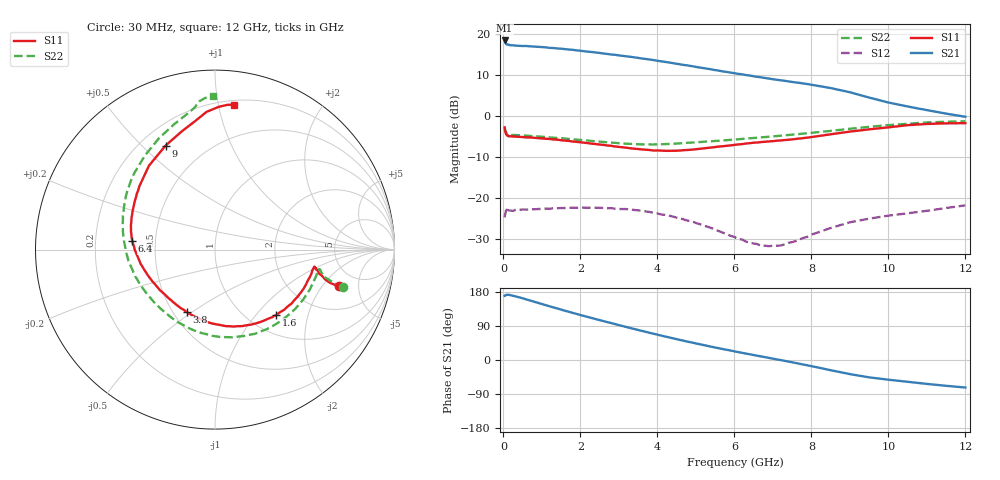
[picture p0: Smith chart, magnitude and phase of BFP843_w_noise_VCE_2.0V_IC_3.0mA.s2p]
! Infineon Technologies  Discrete & RF Semiconductors
! BFP843
! VCE =  2.0 V,  IC =  3.0 mA
! Common Emitter S-Parameters:  Aug 2013
# GHz  S  MA  R  50
!  f  S11  S21  S12  S22
! GHz  MAG  ANG  MAG  ANG  MAG  ANG  MAG  ANG
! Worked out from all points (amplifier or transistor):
!   103 points, 30 MHz to 12 GHz, reference 50 ohm
!   highest |S21| = 18.4 dB at 30 MHz (marker M1)
!   |S21| within 3 dB of that: start of sweep to 2.454 GHz
!   unconditionally stable (mu >= 1): 151.3 MHz to 944.4 MHz; 2.624 GHz to 10.94 GHz
!   at 400 MHz: K = 1.01, MAG = 19.4 dB, |S12| = -22.8 dB
!   at 3.7 GHz: K = 1.15, MAG = 16.3 dB, |S12| = -23.4 dB
!   at 12 GHz: K = 0.81, MSG = 10.8 dB, |S12| = -21.9 dB
!   lowest NFmin = 1.03 dB at 450 MHz
!   S11 on the Smith chart (normalised r, x): 30 MHz: 3.48, -2.96; 1.6 GHz: 1.33, -1.28; 3.8 GHz: 0.59, -0.48; 6.4 GHz: 0.37, +0.05; 9 GHz: 0.30, +0.59; 12 GHz: 0.23, +1.11
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0.03  0.7195 -16.6  8.323 169.2  0.0574 37.0  0.7443 -16.1
0.04  0.6655 -16.1  7.993 169.5  0.062 28.4  0.6924 -15.8
0.05  0.6374 -15.2  7.777 171.2  0.0635 21.6  0.6567 -14.8
0.07  0.5934 -12.9  7.523 171.7  0.0693 18.1  0.6212 -12.9
0.13  0.5699 -10.3  7.386 172.2  0.0698 11.0  0.5917 -10.9
0.8  0.5393 -24.0  7.006 153.7  0.0723 -1.3  0.5649 -29.6
1.3  0.5139 -38.1  6.725 138.7  0.0743 -5.3  0.5409 -47.0
1.6  0.4985 -46.8  6.526 130.0  0.0749 -7.9  0.5279 -57.6
2.1  0.469 -61.5  6.146 116.0  0.0757 -13.4  0.5015 -75.1
2.5  0.4453 -73.4  5.858 105.2  0.0752 -17.6  0.4841 -88.9
2.9  0.4219 -85.6  5.558 94.7  0.0734 -22.2  0.4672 -102.7
3.3  0.4011 -98.1  5.258 84.3  0.0717 -27.7  0.4545 -116.5
3.8  0.3821 -114.2  4.871 71.7  0.0669 -33.6  0.4473 -133.4
4.1  0.3755 -124.1  4.629 64.4  0.0624 -37.3  0.4492 -143.0
5  0.3914 -153.1  3.957 43.7  0.0491 -44.0  0.474 -166.5
6.1  0.4477 180.0  3.254 20.9  0.0311 -39.9  0.5174 171.0
6.4  0.4634 174.0  3.102 15.0  0.0281 -33.4  0.532 165.3
7.4  0.51 153.4  2.635 -4.1  0.0281 -1.2  0.5832 147.6
8.5  0.595 128.2  2.183 -26.9  0.0427 10.9  0.654 126.6
9  0.6416 115.4  1.94 -37.2  0.0501 8.6  0.6946 116.7
10.5  0.7689 93.5  1.3 -57.5  0.0645 1.2  0.799 98.2
12  0.8138 82.6  0.973 -72.7  0.0807 -7.4  0.856 90.7
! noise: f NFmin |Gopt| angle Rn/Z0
0.45  1.03  0.27  8  0.03
0.9  1.05  0.28  18  0.05
1.5  1.1  0.27  30  0.12
1.9  1.13  0.26  40  0.21
2.4  1.19  0.25  50  0.29
3.5  1.32  0.2  69  0.4
5.5  1.54  0.16  173  0.49
10  2.44  0.54  -80  0.55
